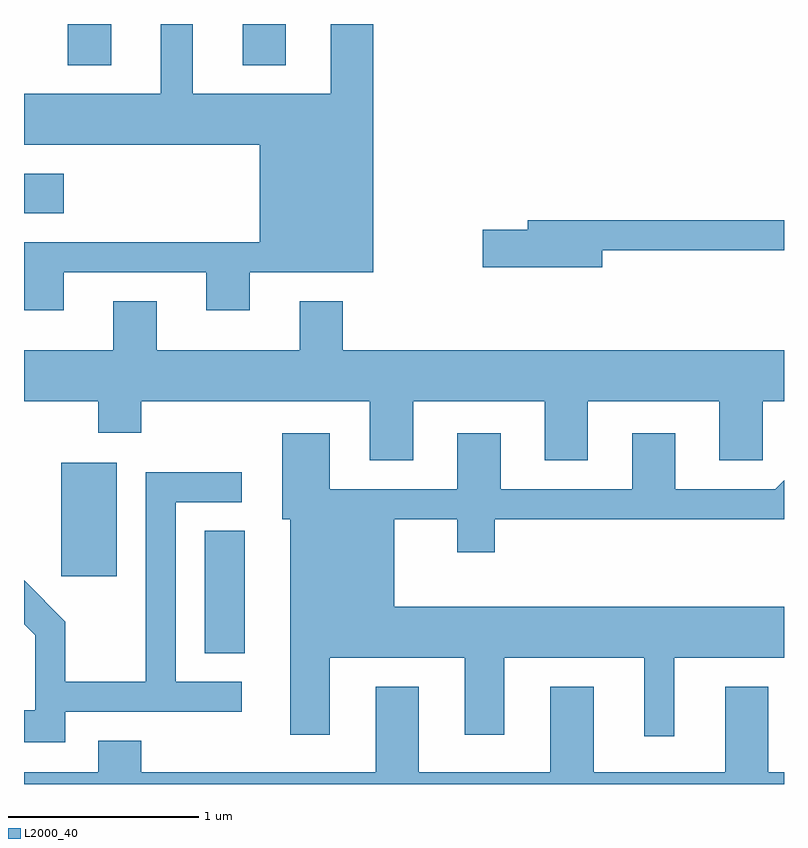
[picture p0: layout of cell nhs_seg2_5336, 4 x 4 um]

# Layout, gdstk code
import gdstk
lib = gdstk.Library(unit=1e-6, precision=1e-09)
def R(c, l, rs):  # rectangles x0, y0, x1, y1
    for r in rs: c.add(gdstk.rectangle(r[:2], r[2:], *l))
def P(c, l, *ps):  # polygons
    for p in ps: c.add(gdstk.Polygon(p, *l))
L2000_40 = (2000, 40)

nhs_seg2_5336 = lib.new_cell('nhs_seg2_5336')
R(nhs_seg2_5336, L2000_40, [(342.561,1102.491,342.774,1103.134), (341.806,1102.896,342.099,1103.494), (341.611,1104.806,341.819,1105.014), (341.841,1105.586,342.069,1105.802), (342.761,1105.586,342.989,1105.802)])
P(nhs_seg2_5336, L2000_40, [(341.819,1104.496),(342.571,1104.496),(342.571,1104.296),(342.799,1104.296),(342.799,1104.496),(343.449,1104.496),(343.449,1105.802),(343.226,1105.802),(343.226,1105.434),(342.499,1105.434),(342.499,1105.802),(342.331,1105.802),(342.331,1105.434),(341.611,1105.434),(341.611,1105.166),(342.851,1105.166),(342.851,1104.654),(341.611,1104.654),(341.611,1104.296),(341.819,1104.296)],
  [(344.654,1104.611),(345.611,1104.611),(345.611,1104.769),(344.261,1104.769),(344.261,1104.719),(344.026,1104.719),(344.026,1104.521),(344.654,1104.521)],
  [(343.659,1103.816),(344.351,1103.816),(344.351,1103.506),(344.579,1103.506),(344.579,1103.816),(345.271,1103.816),(345.271,1103.506),(345.499,1103.506),(345.499,1103.816),(345.611,1103.816),(345.611,1104.084),(343.289,1104.084),(343.289,1104.344),(343.061,1104.344),(343.061,1104.084),(342.309,1104.084),(342.309,1104.344),(342.081,1104.344),(342.081,1104.084),(341.611,1104.084),(341.611,1103.816),(342.001,1103.816),(342.001,1103.651),(342.229,1103.651),(342.229,1103.816),(343.431,1103.816),(343.431,1103.506),(343.659,1103.506)],
  [(345.034,1102.466),(345.611,1102.466),(345.611,1102.734),(343.559,1102.734),(343.559,1103.196),(343.891,1103.196),(343.891,1103.021),(344.089,1103.021),(344.089,1103.196),(345.611,1103.196),(345.611,1103.401),(345.564,1103.354),(345.039,1103.354),(345.039,1103.649),(344.811,1103.649),(344.811,1103.354),(344.119,1103.354),(344.119,1103.649),(343.891,1103.649),(343.891,1103.354),(343.219,1103.354),(343.219,1103.649),(342.971,1103.649),(342.971,1103.196),(343.011,1103.196),(343.011,1102.061),(343.219,1102.061),(343.219,1102.466),(343.931,1102.466),(343.931,1102.061),(344.139,1102.061),(344.139,1102.466),(344.876,1102.466),(344.876,1102.053),(345.034,1102.053)],
  [(341.829,1102.181),(342.758,1102.181),(342.758,1102.339),(342.409,1102.339),(342.409,1103.286),(342.758,1103.286),(342.758,1103.444),(342.251,1103.444),(342.251,1102.339),(341.829,1102.339),(341.829,1102.657),(341.611,1102.875),(341.611,1102.644),(341.671,1102.584),(341.671,1102.189),(341.611,1102.189),(341.611,1102.021),(341.829,1102.021)],
  [(345.611,1101.864),(345.529,1101.864),(345.529,1102.314),(345.301,1102.314),(345.301,1101.864),(344.609,1101.864),(344.609,1102.314),(344.381,1102.314),(344.381,1101.864),(343.689,1101.864),(343.689,1102.314),(343.461,1102.314),(343.461,1101.864),(342.229,1101.864),(342.229,1102.029),(342.001,1102.029),(342.001,1101.864),(341.611,1101.864),(341.611,1101.802),(345.611,1101.802)])

lib.write_gds('nhs_seg2_5336.gds')
